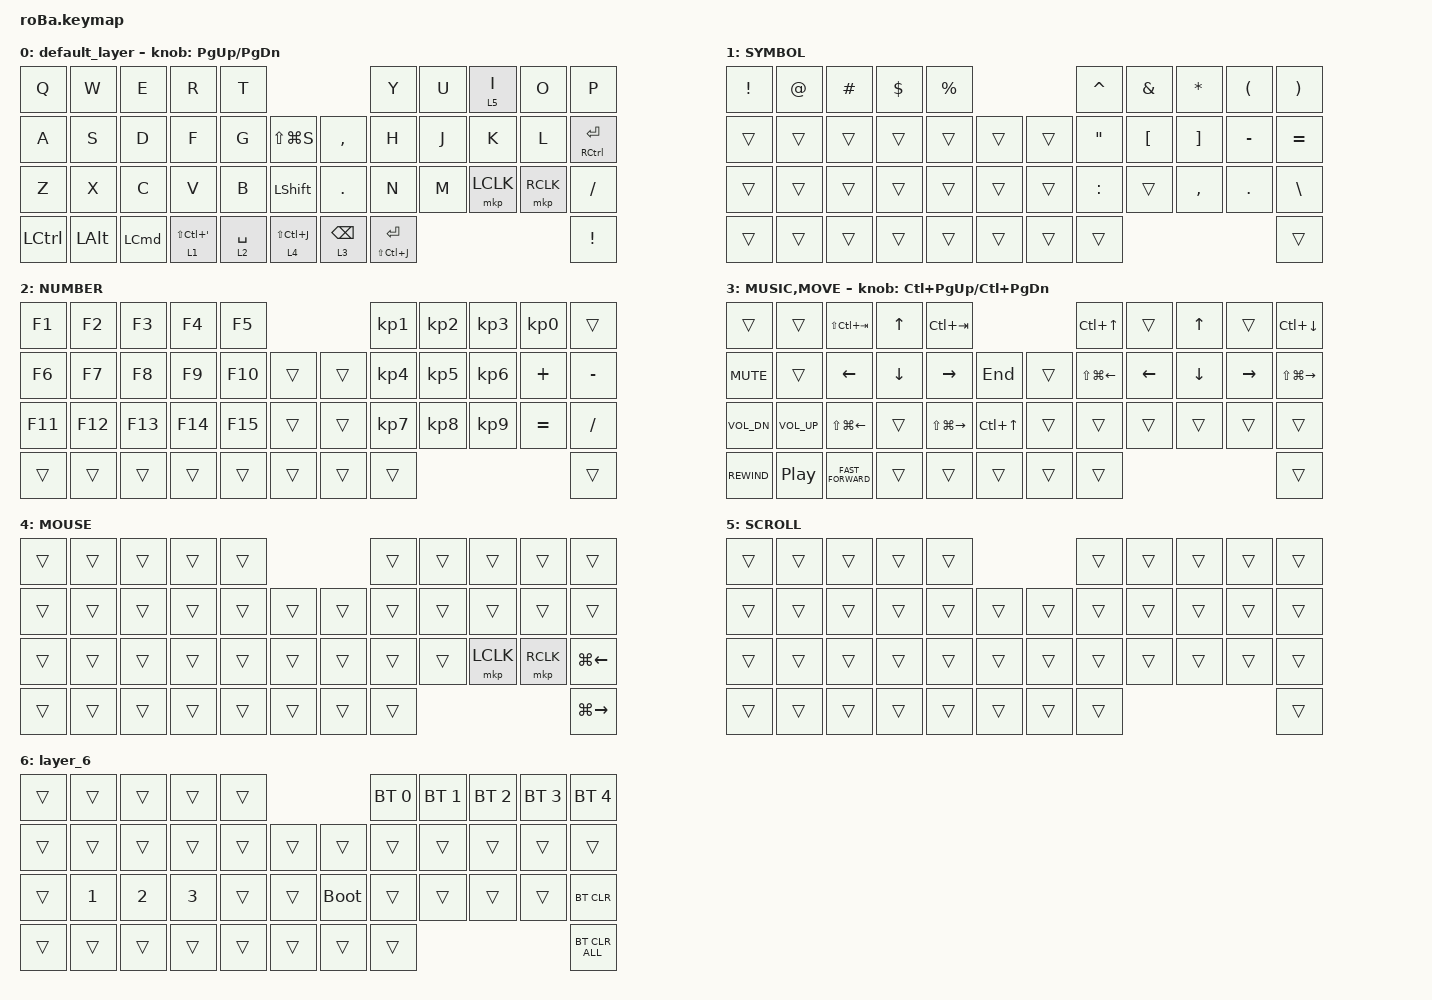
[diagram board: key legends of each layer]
#include <behaviors.dtsi>
#include <dt-bindings/zmk/bt.h>
#include <dt-bindings/zmk/keys.h>
#include <dt-bindings/zmk/pointing.h>

#define MOUSE 4
#define SCROLL 5
#define NUM 6

&mt {
    flavor = "balanced";
    quick-tap-ms = <0>;
};

/ {
    combos {
        compatible = "zmk,combos";

        tab {
            bindings = <&kp TAB>;
            key-positions = <11 12>;
        };

        shift_tab {
            bindings = <&kp LS(TAB)>;
            key-positions = <12 13>;
        };

        muhennkann {
            bindings = <&to_layer_0 INT_MUHENKAN>;
            key-positions = <11 10>;
        };

        double_quotation {
            bindings = <&kp DOUBLE_QUOTES>;
            key-positions = <20 21>;
        };

        eq {
            bindings = <&kp EQUAL>;
            key-positions = <24 25>;
        };

        modou {
            bindings = <&kp K_PREV>;
            key-positions = <6 7>;
        };
    };

    macros {
        to_layer_0: to_layer_0 {
            compatible = "zmk,behavior-macro-one-param";
            #binding-cells = <1>;
            bindings = <&to 0 &macro_param_1to1 &kp MACRO_PLACEHOLDER>;
            label = "TO_LAYER_0";
        };
    };

    behaviors {
        lt_to_layer_0: lt_to_layer_0 {
            compatible = "zmk,behavior-hold-tap";
            label = "LAYER_TAP_TO_0";
            bindings = <&mo>, <&to_layer_0>;

            #binding-cells = <2>;
            tapping-term-ms = <200>;
        };
    };

    keymap {
        compatible = "zmk,keymap";

        default_layer {
            bindings = <
&kp Q      &kp W         &kp E             &kp R                         &kp T                                                                               &kp Y                &kp U  &lt 5 I    &kp O      &kp P
&kp A      &kp S         &kp D             &kp F                         &kp G                   &kp LS(LG(S))                   &kp COMMA                   &kp H                &kp J  &kp K      &kp L      &mt RCTRL ENTER
&kp Z      &kp X         &kp C             &kp V                         &kp B                   &kp LEFT_SHIFT                  &kp PERIOD                  &kp N                &kp M  &mkp LCLK  &mkp RCLK  &kp SLASH
&kp LCTRL  &kp LEFT_ALT  &kp LEFT_COMMAND  &lt_to_layer_0 1 LS(LC(SQT))  &lt_to_layer_0 2 SPACE  &lt_to_layer_0 4 LS(LC(J))      &lt_to_layer_0 3 BACKSPACE  &mt LS(LC(J)) ENTER                               &kp EXCLAMATION
            >;

            sensor-bindings = <&inc_dec_kp PG_UP PAGE_DOWN>;
        };

        SYMBOL {
            bindings = <
&kp EXCLAMATION  &kp AT  &kp HASH  &kp DOLLAR  &kp PERCENT                      &kp CARET          &kp AMPERSAND  &kp ASTERISK  &kp LEFT_PARENTHESIS  &kp RIGHT_PARENTHESIS
&trans           &trans  &trans    &trans      &trans       &trans      &trans  &kp DOUBLE_QUOTES  &kp LBKT       &kp RBKT      &kp MINUS             &kp EQUAL
&trans           &trans  &trans    &trans      &trans       &trans      &trans  &kp COLON          &trans         &kp COMMA     &kp DOT               &kp BACKSLASH
&trans           &trans  &trans    &trans      &trans       &trans      &trans  &trans                                                                &trans
            >;
        };

        NUMBER {
            bindings = <
&kp F1   &kp F2   &kp F3   &kp F4   &kp F5                       &kp KP_NUMBER_1  &kp KP_NUMBER_2  &kp KP_NUMBER_3  &kp KP_NUMBER_0  &trans
&kp F6   &kp F7   &kp F8   &kp F9   &kp F10  &trans      &trans  &kp KP_NUMBER_4  &kp KP_NUMBER_5  &kp KP_NUMBER_6  &kp PLUS         &kp MINUS
&kp F11  &kp F12  &kp F13  &kp F14  &kp F15  &trans      &trans  &kp KP_NUMBER_7  &kp KP_NUMBER_8  &kp KP_NUMBER_9  &kp EQUAL        &kp SLASH
&trans   &trans   &trans   &trans   &trans   &trans      &trans  &trans                                                              &trans
            >;
        };

        MUSIC,MOVE {
            bindings = <
&trans        &trans            &kp LS(LC(TAB))         &kp UP_ARROW    &kp LC(TAB)                                            &kp LC(UP_ARROW)        &trans          &kp UP_ARROW    &trans           &kp LC(DOWN_ARROW)
&kp K_MUTE    &trans            &kp LEFT_ARROW          &kp DOWN_ARROW  &kp RIGHT_ARROW          &kp END               &trans  &kp LS(LG(LEFT_ARROW))  &kp LEFT_ARROW  &kp DOWN_ARROW  &kp RIGHT_ARROW  &kp LS(LG(RIGHT_ARROW))
&kp C_VOL_DN  &kp C_VOLUME_UP   &kp LS(LG(LEFT_ARROW))  &trans          &kp LS(LG(RIGHT_ARROW))  &kp LC(UP_ARROW)      &trans  &trans                  &trans          &trans          &trans           &trans
&kp C_REWIND  &kp C_PLAY_PAUSE  &kp C_FAST_FORWARD      &trans          &trans                   &trans                &trans  &trans                                                                   &trans
            >;

            sensor-bindings = <&inc_dec_kp LC(PAGE_UP) LC(PAGE_DOWN)>;
        };

        MOUSE {
            bindings = <
&trans  &trans  &trans  &trans  &trans                      &trans  &trans  &trans     &trans     &trans
&trans  &trans  &trans  &trans  &trans  &trans      &trans  &trans  &trans  &trans     &trans     &trans
&trans  &trans  &trans  &trans  &trans  &trans      &trans  &trans  &trans  &mkp LCLK  &mkp RCLK  &kp LG(LEFT_ARROW)
&trans  &trans  &trans  &trans  &trans  &trans      &trans  &trans                                &kp LG(RIGHT_ARROW)
            >;
        };

        SCROLL {
            bindings = <
&trans  &trans  &trans  &trans  &trans                      &trans  &trans  &trans  &trans  &trans
&trans  &trans  &trans  &trans  &trans  &trans      &trans  &trans  &trans  &trans  &trans  &trans
&trans  &trans  &trans  &trans  &trans  &trans      &trans  &trans  &trans  &trans  &trans  &trans
&trans  &trans  &trans  &trans  &trans  &trans      &trans  &trans                          &trans
            >;
        };

        layer_6 {
            bindings = <
&trans  &trans        &trans        &trans        &trans                           &bt BT_SEL 0  &bt BT_SEL 1  &bt BT_SEL 2  &bt BT_SEL 3  &bt BT_SEL 4
&trans  &trans        &trans        &trans        &trans  &trans      &trans       &trans        &trans        &trans        &trans        &trans
&trans  &kp NUMBER_1  &kp NUMBER_2  &kp NUMBER_3  &trans  &trans      &bootloader  &trans        &trans        &trans        &trans        &bt BT_CLR
&trans  &trans        &trans        &trans        &trans  &trans      &trans       &trans                                                  &bt BT_CLR_ALL
            >;
        };
    };
};
